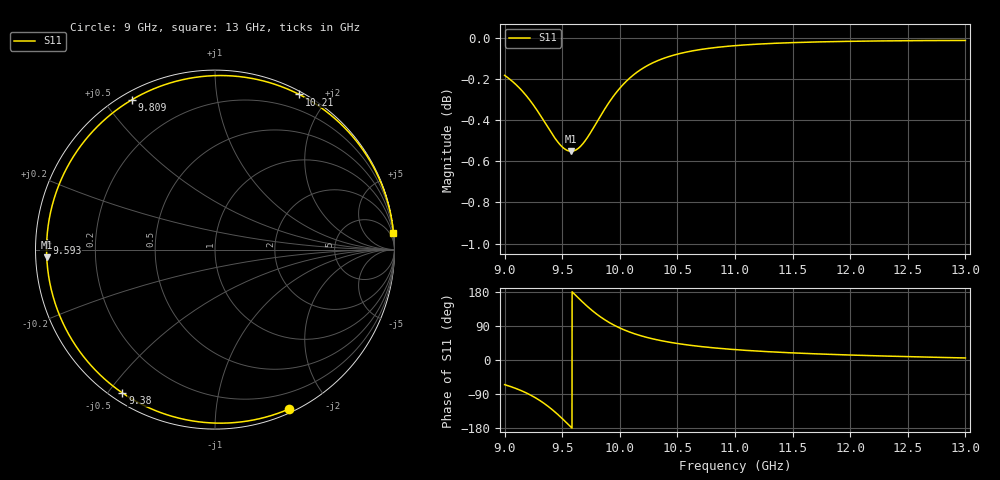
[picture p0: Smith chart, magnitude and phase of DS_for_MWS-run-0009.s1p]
! TOUCHSTONE file generated by CST DESIGN STUDIO
! Date and time: Tue Feb  4 13:36:43 2025
! Project name: C:\Work\MatlabApps\UnitCellOptimizationMatlab\CST\unitcell.cst
! Tree item: Tasks\Sweep1\SPara1\S-Parameters
! Header version: 2024
! Port assignment regex: !\s*Touchstone port\s*([0-9]+)\s*=\s*(CST MWS port|CST DES external port|CST DES block port)\s*(.+)\s* \(\"(.*)\"\)(\s*mode\s*([0-9]+))?.*
! Touchstone port assignment:
! Touchstone port 1 = CST DES external port 1 ("")
# GHz S MA R 50
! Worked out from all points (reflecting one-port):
!   4001 points, 9 GHz to 13 GHz, reference 50 ohm
!   lowest |S11| = -0.6 dB at 9.577 GHz (marker M1), VSWR 31.51, Z = 1.59 - j1.16 ohm
!   phase of S11 starts at -65 deg and turns -290 deg over the sweep
!   S11 on the Smith chart (normalised r, x): 9 GHz: 0.04, -1.57; 9.38 GHz: 0.03, -0.54; 9.593 GHz: 0.03, +0.02; 9.809 GHz: 0.03, +0.59; 10.21 GHz: 0.03, +1.68; 13 GHz: 0, +21
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9  0.9792 -65.0
9.046  0.977 -69.5
9.114  0.9732 -77.0
9.23  0.9648 -93.3
9.31  0.9576 -107.7
9.38  0.9507 -122.9
9.439  0.9452 -137.6
9.5  0.9408 -154.5
9.539  0.9391 -165.9
9.577  0.9385 -177.3
9.593  0.9386 177.8
9.648  0.9405 161.4
9.709  0.9448 144.0
9.759  0.9496 130.8
9.809  0.9548 118.9
9.851  0.9591 109.9
9.896  0.9635 101.1
10  0.9722 84.5
10.101  0.9785 72.0
10.212  0.9836 61.5
10.345  0.9877 51.9
10.5  0.9909 43.5
10.72  0.9937 35.0
11  0.9956 27.4
11.5  0.9973 18.8
12  0.998 13.1
12.5  0.9984 8.9
13  0.9985 5.4
